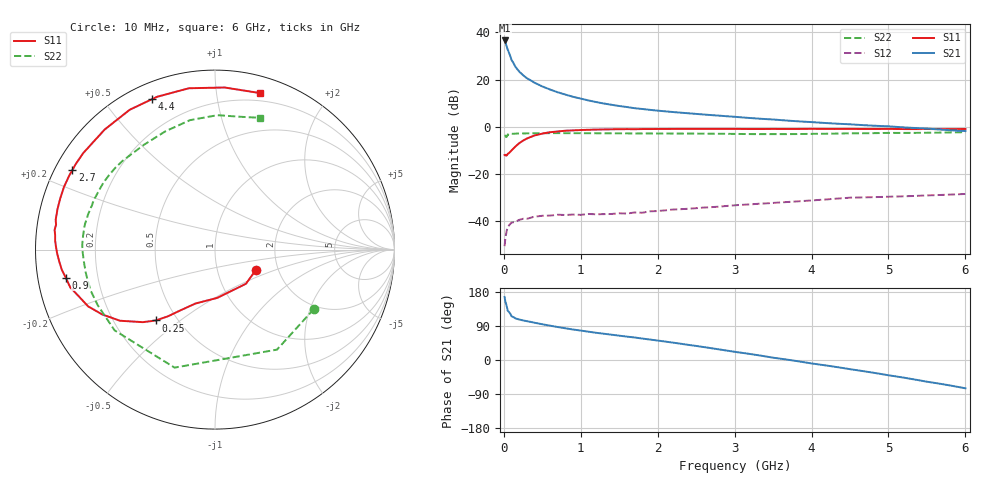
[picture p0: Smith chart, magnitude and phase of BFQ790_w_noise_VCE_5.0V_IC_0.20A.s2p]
! Infineon Technologies  Discrete & RF Semiconductors
! BFQ790
! VCE =  5.0 V,  IC = 0.20 A
! Common Emitter S-Parameters:  May 2015
# GHz  S  MA  R  50
!  f  S11  S21  S12  S22
! GHz  MAG  ANG  MAG  ANG  MAG  ANG  MAG  ANG
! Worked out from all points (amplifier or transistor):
!   77 points, 10 MHz to 6 GHz, reference 50 ohm
!   highest |S21| = 36.6 dB at 10 MHz (marker M1)
!   |S21| within 3 dB of that: start of sweep to 41.28 MHz
!   unconditionally stable (mu >= 1): start of sweep to 19.76 MHz; 29.84 MHz to 30.01 MHz; 154.3 MHz to end of sweep
!   at 130 MHz: K = 0.91, MSG = 33.5 dB, |S12| = -40.3 dB
!   at 2.2 GHz: K = 1.30, MAG = 17.3 dB, |S12| = -34.9 dB
!   at 6 GHz: K = 1.14, MAG = 11.0 dB, |S12| = -28.4 dB
!   lowest NFmin = 3.33 dB at 1.5 GHz
!   S11 on the Smith chart (normalised r, x): 10 MHz: 1.54, -0.37; 250 MHz: 0.38, -0.41; 900 MHz: 0.08, -0.09; 2.7 GHz: 0.05, +0.26; 4.4 GHz: 0.07, +0.66; 6 GHz: 0.13, +1.32
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0.01  0.2547 -26.2  67.73 166.2  0.003 44.1  0.6428 -31.0
0.02  0.2569 -47.9  62.28 153.7  0.0045 46.3  0.6557 -58.2
0.05  0.2692 -87.3  43.38 130.1  0.0077 33.1  0.695 -108.9
0.1  0.3199 -110.0  26.21 115.4  0.0095 21.1  0.718 -141.2
0.15  0.3852 -119.2  18.8 109.9  0.0098 20.5  0.723 -154.6
0.2  0.4535 -125.1  14.87 106.8  0.0108 21.7  0.7295 -161.8
0.25  0.5149 -129.9  12.44 104.5  0.0114 17.4  0.7299 -166.5
0.3  0.5697 -134.8  10.75 102.4  0.0114 17.5  0.7314 -170.0
0.4  0.6616 -143.2  8.614 98.2  0.0127 15.4  0.734 -175.0
0.5  0.7241 -150.0  7.2 94.3  0.0132 11.2  0.737 -178.6
0.6  0.7744 -155.9  6.208 90.6  0.0133 13.4  0.7399 178.4
0.7  0.8031 -161.2  5.421 87.0  0.0139 12.6  0.7399 176.0
0.9  0.8463 -169.4  4.35 80.4  0.014 7.3  0.7386 172.2
1.1  0.8715 -176.0  3.644 74.7  0.0144 12.3  0.7379 168.7
1.5  0.8943 174.8  2.776 64.2  0.0149 13.1  0.7318 163.1
2.1  0.9067 163.6  2.14 48.6  0.0172 12.3  0.726 154.4
2.7  0.91 150.9  1.782 31.1  0.0201 7.9  0.7194 142.8
3.1  0.907 141.6  1.592 18.8  0.0225 3.6  0.7097 133.8
4.1  0.9097 119.3  1.236 -11.9  0.0286 -9.9  0.7163 110.3
4.4  0.9085 112.9  1.158 -20.9  0.031 -15.4  0.7282 103.2
5.1  0.906 96.7  1.005 -43.4  0.0337 -29.0  0.7481 86.9
6  0.9073 74.0  0.82 -74.7  0.0382 -50.0  0.776 71.2
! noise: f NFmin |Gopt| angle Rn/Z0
0.45  5.48  0.47  141  0.52
0.9  3.84  0.6  168  0.17
1.5  3.33  0.71  -172  0.09
1.8  3.37  0.72  -167  0.11
2.6  3.63  0.75  -151  0.27
3.5  4.17  0.82  -135  0.61
